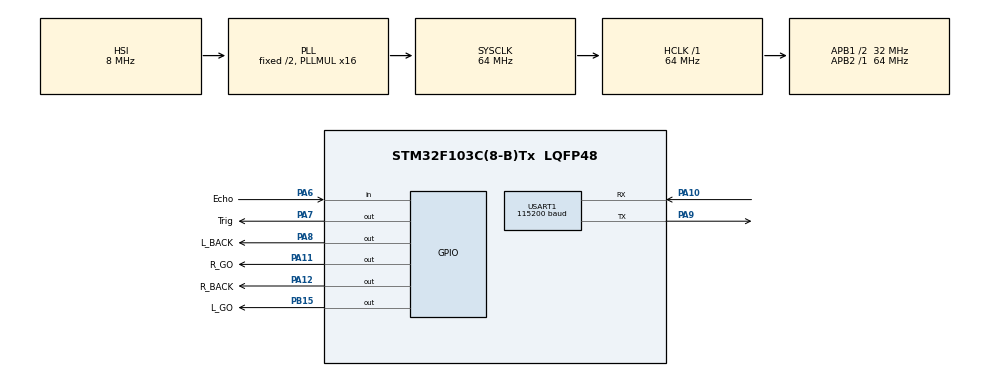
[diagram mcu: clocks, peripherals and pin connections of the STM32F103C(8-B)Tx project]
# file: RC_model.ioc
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Mcu.Family=STM32F1
Mcu.Name=STM32F103C(8-B)Tx
Mcu.Package=LQFP48
NVIC.PriorityGroup=NVIC_PRIORITYGROUP_4
NVIC.USART1_IRQn=true\:0\:0\:false\:false\:true\:true\:true\:true
PA10.Mode=Asynchronous
PA10.Signal=USART1_RX
PA11.GPIO_Label=R_GO
PA11.Signal=GPIO_Output
PA12.GPIO_Label=R_BACK
PA12.Signal=GPIO_Output
PA6.GPIO_Label=Echo
PA6.Signal=GPIO_Input
PA7.GPIO_Label=Trig
PA7.Signal=GPIO_Output
PA8.GPIO_Label=L_BACK
PA8.Signal=GPIO_Output
PA9.Mode=Asynchronous
PA9.Signal=USART1_TX
PB15.GPIO_Label=L_GO
PB15.Signal=GPIO_Output
PD0-OSC_IN.Mode=HSE-External-Oscillator
PD0-OSC_IN.Signal=RCC_OSC_IN
PD1-OSC_OUT.Mode=HSE-External-Oscillator
PD1-OSC_OUT.Signal=RCC_OSC_OUT
ProjectManager.HeapSize=0x200
ProjectManager.StackSize=0x400
ProjectManager.TargetToolchain=STM32CubeIDE
RCC.AHBFreq_Value=64000000
RCC.APB1CLKDivider=RCC_HCLK_DIV2
RCC.APB1Freq_Value=32000000
RCC.APB1TimFreq_Value=64000000
RCC.APB2Freq_Value=64000000
RCC.APB2TimFreq_Value=64000000
RCC.HCLKFreq_Value=64000000
RCC.PLLMUL=RCC_PLL_MUL16
RCC.SYSCLKFreq_VALUE=64000000
RCC.SYSCLKSource=RCC_SYSCLKSOURCE_PLLCLK
RCC.USBFreq_Value=64000000
TIM3.Prescaler=64-1
USART1.BaudRate=115200
USART1.VirtualMode=VM_ASYNC
VP_TIM3_VS_ClockSourceINT.Mode=Internal
board=custom

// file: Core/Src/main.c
/* USER CODE BEGIN Header */
/**
  ******************************************************************************
  * @file           : main.c
  * @brief          : Main program body
  ******************************************************************************
  * @attention
  *
  * Copyright (c) 2024 STMicroelectronics.
  * All rights reserved.
  *
  * This software is licensed under terms that can be found in the LICENSE file
  * in the root directory of this software component.
  * If no LICENSE file comes with this software, it is provided AS-IS.
  *
  ******************************************************************************
  */
/* USER CODE END Header */
#include "main.h"

/* USER CODE BEGIN PTD */
#define usTIM TIM3
/* USER CODE END PTD */

TIM_HandleTypeDef htim3;

UART_HandleTypeDef huart1;

void SystemClock_Config(void);
static void MX_GPIO_Init(void);
static void MX_USART1_UART_Init(void);
static void MX_TIM3_Init(void);
/* USER CODE BEGIN PFP */
void usDelay(uint32_t uSec);
/* USER CODE END PFP */

/* USER CODE BEGIN 0 */
const float Sos = 0.034/2;
int distance;
/* USER CODE END 0 */

int main(void)
{
  /* USER CODE BEGIN 1 */
	uint32_t numTicks;
  /* USER CODE END 1 */

  /* MCU Configuration--------------------------------------------------------*/

  /* Reset of all peripherals, Initializes the Flash interface and the Systick. */
  HAL_Init();

  /* Configure the system clock */
  SystemClock_Config();

  /* Initialize all configured peripherals */
  MX_GPIO_Init();
  MX_USART1_UART_Init();
  MX_TIM3_Init();
  /* USER CODE BEGIN 2 */
  uint8_t ok[]="OK";
  uint8_t human[]="Обнаружен человек";

  uint8_t transmitBuffer[] = "Hello world!\n\r"; // Объявляем массив с переменной ввиде отправляемой строки
  uint8_t buffer[]= ""; // Служебный массив, для хранения переменной
  const uint8_t buf[] = "\n";

  HAL_UART_Transmit_IT(&huart1,transmitBuffer,14); // Отправка массива (какой usart, какой буффер, сколько бит отправлять)
  HAL_TIM_Base_Start_IT(&htim3);
  HAL_TIM_Base_Start(&htim3);
  //HAL_UART_Transmit_IT(&huart2,buffer,14); // Отправка массива (какой usart, какой буффер, сколько бит отправлять)
  /* USER CODE END 2 */

  /* Infinite loop */
  /* USER CODE BEGIN WHILE */
  while (1)
  {
	   // Получение данных (какой usart,какой буффер, сколько бит получать, окно получения данных)

	  HAL_GPIO_WritePin(Trig_GPIO_Port, Trig_Pin, RESET);
	  usDelay(3);

	  HAL_GPIO_WritePin(Trig_GPIO_Port, Trig_Pin, SET);
	  usDelay(10);
	  HAL_GPIO_WritePin(Trig_GPIO_Port, Trig_Pin, RESET);

	  while(HAL_GPIO_ReadPin(Echo_GPIO_Port, Echo_Pin) == RESET);
	  numTicks = 0;
	  while(HAL_GPIO_ReadPin(Echo_GPIO_Port, Echo_Pin) == SET)
	  {
		  numTicks++;
		  usDelay(2);
	  }
	  distance = numTicks * 4.8 * Sos;
	  char num1[10];
	  sprintf(num1,"%3d",distance);
	  HAL_UART_Transmit_IT(&huart1,num1,3);
	  HAL_UART_Transmit_IT(&huart1, buf, 1);
	  HAL_Delay(300);
	  if(distance <= 15) {
		  HAL_GPIO_WritePin(R_GO_GPIO_Port, R_GO_Pin, RESET);
		  HAL_GPIO_WritePin(L_GO_GPIO_Port, L_GO_Pin, RESET);
		  HAL_GPIO_WritePin(R_BACK_GPIO_Port, R_BACK_Pin, RESET);
		  HAL_GPIO_WritePin(L_BACK_GPIO_Port, L_BACK_Pin, RESET);
		  HAL_Delay(1000);
		  HAL_GPIO_WritePin(R_BACK_GPIO_Port, R_BACK_Pin, SET);
		  HAL_GPIO_WritePin(L_BACK_GPIO_Port, L_BACK_Pin, SET);
		  HAL_Delay(1000);
		  HAL_GPIO_WritePin(R_BACK_GPIO_Port, R_BACK_Pin, RESET);
		  HAL_GPIO_WritePin(L_BACK_GPIO_Port, L_BACK_Pin, RESET);
		  continue;
	  }

	  HAL_UART_Receive_IT(&huart1,(uint8_t*)buffer, 5);
	  switch(buffer[0])
	  {
	  	  case 'w':
	  		  HAL_GPIO_WritePin(R_BACK_GPIO_Port, R_BACK_Pin, RESET);
	  		  HAL_GPIO_WritePin(L_BACK_GPIO_Port, L_BACK_Pin, RESET);
	  		  HAL_GPIO_WritePin(R_GO_GPIO_Port, R_GO_Pin, SET);
	  		  HAL_GPIO_WritePin(L_GO_GPIO_Port, L_GO_Pin, SET);
	  	  	  break;
	  	  case 'a':
	  		  HAL_GPIO_WritePin(R_BACK_GPIO_Port, R_BACK_Pin, RESET);
	  		  HAL_GPIO_WritePin(L_GO_GPIO_Port, L_GO_Pin, RESET);
	  		  HAL_GPIO_WritePin(R_GO_GPIO_Port, R_GO_Pin, SET);
	  		  HAL_GPIO_WritePin(L_BACK_GPIO_Port, L_BACK_Pin, SET);
	  		  break;
	  	  case 's':
	  		  HAL_GPIO_WritePin(R_GO_GPIO_Port, R_GO_Pin, RESET);
	  		  HAL_GPIO_WritePin(L_GO_GPIO_Port, L_GO_Pin, RESET);
	  		  HAL_GPIO_WritePin(R_BACK_GPIO_Port, R_BACK_Pin, SET);
	  		  HAL_GPIO_WritePin(L_BACK_GPIO_Port, L_BACK_Pin, SET);
	  		  break;
	  	  case 'd':
	  		  HAL_GPIO_WritePin(R_GO_GPIO_Port, R_GO_Pin, RESET);
	  		  HAL_GPIO_WritePin(L_BACK_GPIO_Port, L_BACK_Pin, RESET);
	  		  HAL_GPIO_WritePin(R_BACK_GPIO_Port, R_BACK_Pin, SET);
	  		  HAL_GPIO_WritePin(L_GO_GPIO_Port, L_GO_Pin, SET);
	  		  break;
	  	  case 't':
	  		  HAL_GPIO_WritePin(R_BACK_GPIO_Port, R_BACK_Pin, RESET);
	  		  HAL_GPIO_WritePin(L_BACK_GPIO_Port, L_BACK_Pin, RESET);
	  		  HAL_GPIO_WritePin(R_GO_GPIO_Port, R_GO_Pin, RESET);
	  		  HAL_GPIO_WritePin(L_GO_GPIO_Port, L_GO_Pin, RESET);
	  		  break;
	  	  default:
	  		  break;
	  }
	  	  /*
	  else if (buffer[0]=='y'){ // получение данных с компьютера с распознования камеры
		  HAL_UART_Transmit_IT(&huart1, human, 17);

		  HAL_UART_Receive_IT(&huart1,(uint8_t*)buffer, 5);
	  }*/

	  	  }

    /* USER CODE END WHILE */

}

void SystemClock_Config(void)
{
  RCC_OscInitTypeDef RCC_OscInitStruct = {0};
  RCC_ClkInitTypeDef RCC_ClkInitStruct = {0};

  /** Initializes the RCC Oscillators according to the specified parameters
  * in the RCC_OscInitTypeDef structure.
  */
  RCC_OscInitStruct.OscillatorType = RCC_OSCILLATORTYPE_HSI;
  RCC_OscInitStruct.HSIState = RCC_HSI_ON;
  RCC_OscInitStruct.HSICalibrationValue = RCC_HSICALIBRATION_DEFAULT;
  RCC_OscInitStruct.PLL.PLLState = RCC_PLL_ON;
  RCC_OscInitStruct.PLL.PLLSource = RCC_PLLSOURCE_HSI_DIV2;
  RCC_OscInitStruct.PLL.PLLMUL = RCC_PLL_MUL16;
  if (HAL_RCC_OscConfig(&RCC_OscInitStruct) != HAL_OK)
  {
    Error_Handler();
  }

  /** Initializes the CPU, AHB and APB buses clocks
  */
  RCC_ClkInitStruct.ClockType = RCC_CLOCKTYPE_HCLK|RCC_CLOCKTYPE_SYSCLK
                              |RCC_CLOCKTYPE_PCLK1|RCC_CLOCKTYPE_PCLK2;
  RCC_ClkInitStruct.SYSCLKSource = RCC_SYSCLKSOURCE_PLLCLK;
  RCC_ClkInitStruct.AHBCLKDivider = RCC_SYSCLK_DIV1;
  RCC_ClkInitStruct.APB1CLKDivider = RCC_HCLK_DIV2;
  RCC_ClkInitStruct.APB2CLKDivider = RCC_HCLK_DIV1;

  if (HAL_RCC_ClockConfig(&RCC_ClkInitStruct, FLASH_LATENCY_2) != HAL_OK)
  {
    Error_Handler();
  }
}

static void MX_TIM3_Init(void)
{

  TIM_ClockConfigTypeDef sClockSourceConfig = {0};
  TIM_MasterConfigTypeDef sMasterConfig = {0};

  htim3.Instance = TIM3;
  htim3.Init.Prescaler = 64-1;
  htim3.Init.CounterMode = TIM_COUNTERMODE_UP;
  htim3.Init.Period = 65535;
  htim3.Init.ClockDivision = TIM_CLOCKDIVISION_DIV1;
  htim3.Init.AutoReloadPreload = TIM_AUTORELOAD_PRELOAD_DISABLE;
  if (HAL_TIM_Base_Init(&htim3) != HAL_OK)
  {
    Error_Handler();
  }
  sClockSourceConfig.ClockSource = TIM_CLOCKSOURCE_INTERNAL;
  if (HAL_TIM_ConfigClockSource(&htim3, &sClockSourceConfig) != HAL_OK)
  {
    Error_Handler();
  }
  sMasterConfig.MasterOutputTrigger = TIM_TRGO_RESET;
  sMasterConfig.MasterSlaveMode = TIM_MASTERSLAVEMODE_DISABLE;
  if (HAL_TIMEx_MasterConfigSynchronization(&htim3, &sMasterConfig) != HAL_OK)
  {
    Error_Handler();
  }

}

static void MX_USART1_UART_Init(void)
{

  huart1.Instance = USART1;
  huart1.Init.BaudRate = 115200;
  huart1.Init.WordLength = UART_WORDLENGTH_8B;
  huart1.Init.StopBits = UART_STOPBITS_1;
  huart1.Init.Parity = UART_PARITY_NONE;
  huart1.Init.Mode = UART_MODE_TX_RX;
  huart1.Init.HwFlowCtl = UART_HWCONTROL_NONE;
  huart1.Init.OverSampling = UART_OVERSAMPLING_16;
  if (HAL_UART_Init(&huart1) != HAL_OK)
  {
    Error_Handler();
  }

}

static void MX_GPIO_Init(void)
{
  GPIO_InitTypeDef GPIO_InitStruct = {0};

  /* GPIO Ports Clock Enable */
  __HAL_RCC_GPIOD_CLK_ENABLE();
  __HAL_RCC_GPIOA_CLK_ENABLE();
  __HAL_RCC_GPIOB_CLK_ENABLE();

  /*Configure GPIO pin Output Level */
  HAL_GPIO_WritePin(GPIOA, Trig_Pin|L_BACK_Pin|R_GO_Pin|R_BACK_Pin, GPIO_PIN_RESET);

  /*Configure GPIO pin Output Level */
  HAL_GPIO_WritePin(L_GO_GPIO_Port, L_GO_Pin, GPIO_PIN_RESET);

  /*Configure GPIO pin : Echo_Pin */
  GPIO_InitStruct.Pin = Echo_Pin;
  GPIO_InitStruct.Mode = GPIO_MODE_INPUT;
  GPIO_InitStruct.Pull = GPIO_NOPULL;
  HAL_GPIO_Init(Echo_GPIO_Port, &GPIO_InitStruct);

  /*Configure GPIO pins : Trig_Pin L_BACK_Pin R_GO_Pin R_BACK_Pin */
  GPIO_InitStruct.Pin = Trig_Pin|L_BACK_Pin|R_GO_Pin|R_BACK_Pin;
  GPIO_InitStruct.Mode = GPIO_MODE_OUTPUT_PP;
  GPIO_InitStruct.Pull = GPIO_NOPULL;
  GPIO_InitStruct.Speed = GPIO_SPEED_FREQ_LOW;
  HAL_GPIO_Init(GPIOA, &GPIO_InitStruct);

  /*Configure GPIO pin : L_GO_Pin */
  GPIO_InitStruct.Pin = L_GO_Pin;
  GPIO_InitStruct.Mode = GPIO_MODE_OUTPUT_PP;
  GPIO_InitStruct.Pull = GPIO_NOPULL;
  GPIO_InitStruct.Speed = GPIO_SPEED_FREQ_LOW;
  HAL_GPIO_Init(L_GO_GPIO_Port, &GPIO_InitStruct);

}

/* USER CODE BEGIN 4 */
void usDelay(uint32_t uSec)
{
	if(uSec < 2) uSec = 2;
	usTIM->ARR = uSec - 1;
	usTIM->EGR = 1;
	usTIM->SR &= ~1;
	usTIM->CR1 |= 1;
	while((usTIM->SR&0x0001) != 1);
	usTIM->SR &= ~(0x0001);
}
/* USER CODE END 4 */

void Error_Handler(void)
{
  __disable_irq();
  while (1)
  {
  }
}
